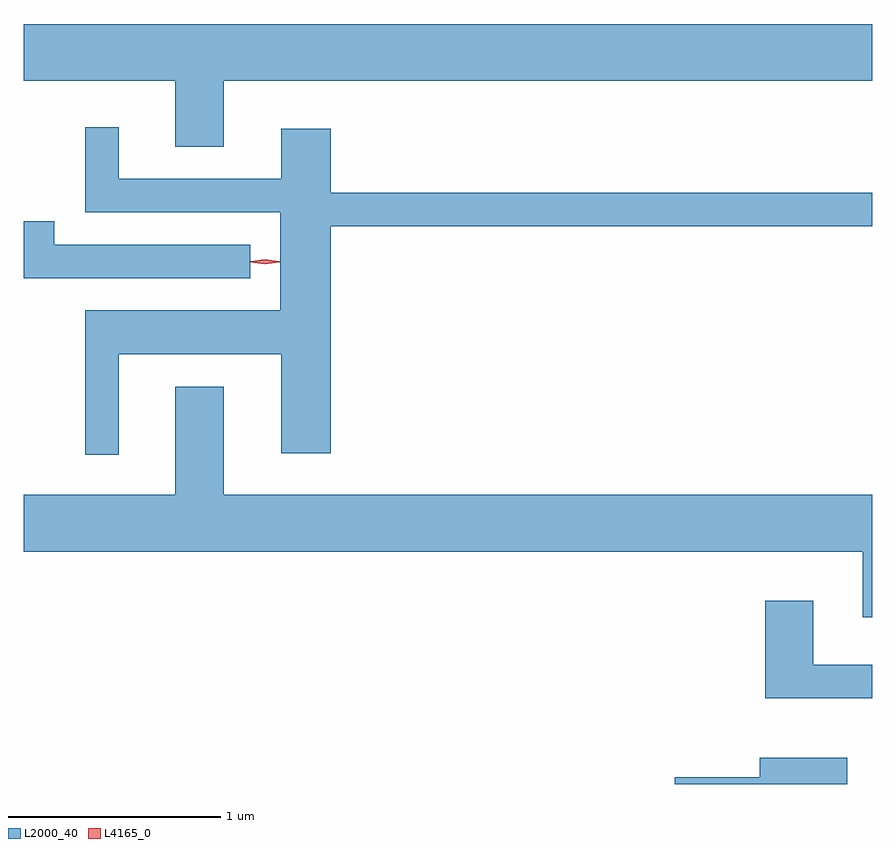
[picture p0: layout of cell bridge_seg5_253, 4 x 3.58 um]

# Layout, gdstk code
import gdstk
lib = gdstk.Library(unit=1e-6, precision=1e-09)
def P(c, l, *ps):  # polygons
    for p in ps: c.add(gdstk.Polygon(p, *l))
L2000_40 = (2000, 40)
L4165_0 = (4165, 0)

bridge_seg5_253 = lib.new_cell('bridge_seg5_253')
P(bridge_seg5_253, L2000_40, [(882.099,1463.456),(885.156,1463.456),(885.156,1463.724),(881.156,1463.724),(881.156,1463.456),(881.871,1463.456),(881.871,1463.146),(882.099,1463.146)],
  [(881.604,1462.166),(882.371,1462.166),(882.371,1461.701),(882.604,1461.701),(882.604,1462.771),(885.156,1462.771),(885.156,1462.929),(882.604,1462.929),(882.604,1463.229),(882.371,1463.229),(882.371,1462.994),(881.604,1462.994),(881.604,1463.238),(881.446,1463.238),(881.446,1462.836),(882.366,1462.836),(882.366,1462.374),(881.446,1462.374),(881.446,1461.693),(881.604,1461.693)],
  [(882.223,1462.684),(881.299,1462.684),(881.299,1462.794),(881.156,1462.794),(881.156,1462.526),(882.223,1462.526)],
  [(885.156,1461.504),(882.099,1461.504),(882.099,1462.014),(881.871,1462.014),(881.871,1461.504),(881.156,1461.504),(881.156,1461.236),(885.111,1461.236),(885.111,1460.926),(885.156,1460.926)],
  [(885.156,1460.704),(884.879,1460.704),(884.879,1461.004),(884.651,1461.004),(884.651,1460.546),(885.156,1460.546)],
  [(885.039,1460.264),(884.626,1460.264),(884.626,1460.174),(884.226,1460.174),(884.226,1460.141),(885.039,1460.141)])
P(bridge_seg5_253, L4165_0, [(882.293,1462.595),(882.228,1462.604),(882.227,1462.605),(882.228,1462.605),(882.293,1462.615),(882.359,1462.605),(882.359,1462.605),(882.359,1462.604)],
  [(882.293,1462.591),(882.224,1462.601),(882.224,1462.601),(882.224,1462.602),(882.293,1462.611),(882.362,1462.602),(882.363,1462.601),(882.362,1462.601)])

lib.write_gds('bridge_seg5_253.gds')
